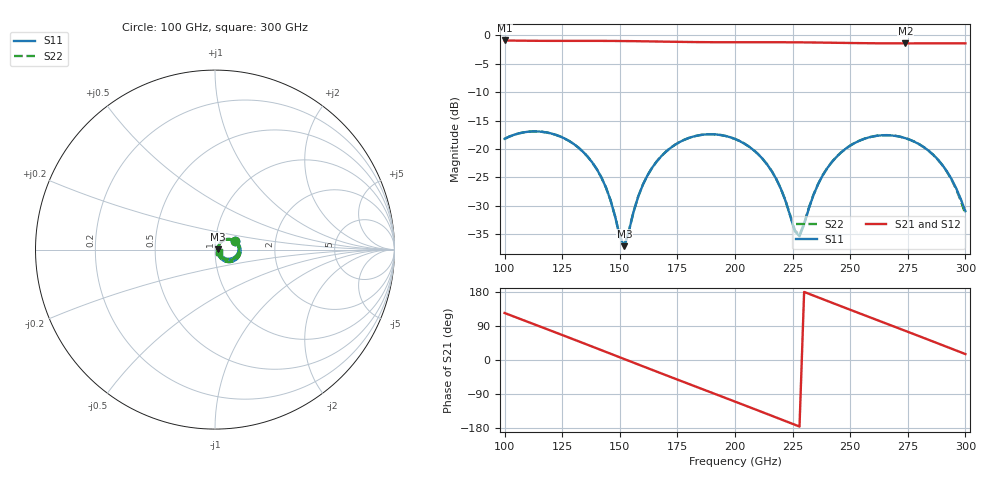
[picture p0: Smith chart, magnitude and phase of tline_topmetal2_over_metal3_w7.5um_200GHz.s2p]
#  GHZ S DB R 50
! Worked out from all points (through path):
!   101 points, 100 GHz to 300 GHz, reference 50 ohm
!   highest |S21| = -0.92 dB at 100 GHz (marker M1); lowest = -1.4 dB at 274 GHz (marker M2)
!   group delay of S21, straight-line fit = 6.51 ps
!   lowest |S11| = -37.1 dB at 152 GHz (marker M3), VSWR 1.03, Z = 51.4 + j0.0749 ohm
!   |S11| at or under -10 dB: start of sweep to end of sweep
!   |S22| runs from -36.9 to -16.9 dB; largest |S21 - S12| = 9.8e-14
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100  -18.21 22.7  -0.92 124.0  -0.92 124.0  -18.22 22.7
116  -16.96 -10.2  -0.98 86.9  -0.98 86.9  -16.97 -10.2
124  -17.78 -26.6  -0.99 68.3  -0.99 68.3  -17.78 -26.7
134  -20.47 -46.1  -0.99 44.9  -0.99 44.9  -20.47 -46.1
144  -26.78 -58.9  -1.00 21.3  -1.00 21.3  -26.78 -58.8
152  -37.09 3.0  -1.02 2.4  -1.02 2.4  -36.95 2.8
160  -26.30 51.4  -1.06 -16.5  -1.06 -16.5  -26.28 50.9
168  -21.27 41.4  -1.12 -35.3  -1.12 -35.3  -21.27 40.9
184  -17.62 10.5  -1.21 -72.6  -1.21 -72.6  -17.61 10.1
200  -18.24 -21.7  -1.23 -109.8  -1.23 -109.8  -18.24 -22.2
216  -23.93 -48.8  -1.23 -147.3  -1.23 -147.3  -23.92 -49.0
220  -27.08 -50.5  -1.23 -156.7  -1.23 -156.7  -27.06 -50.6
226  -34.50 -22.4  -1.25 -170.9  -1.25 -170.9  -34.33 -22.4
228  -35.35 8.5  -1.25 -175.6  -1.25 -175.6  -35.11 7.8
234  -28.16 50.8  -1.28 170.2  -1.28 170.2  -28.10 49.5
240  -23.40 48.9  -1.31 156.0  -1.31 156.0  -23.37 47.7
248  -19.97 36.5  -1.35 137.3  -1.35 137.3  -19.95 35.4
258  -17.98 17.6  -1.40 114.0  -1.40 114.0  -17.96 16.4
268  -17.62 -2.1  -1.43 90.7  -1.43 90.7  -17.61 -3.5
274  -18.10 -13.8  -1.43 76.8  -1.43 76.8  -18.10 -15.3
290  -22.80 -40.3  -1.43 39.3  -1.43 39.3  -22.84 -42.9
300  -30.93 -30.0  -1.43 15.6  -1.43 15.6  -31.45 -34.8
